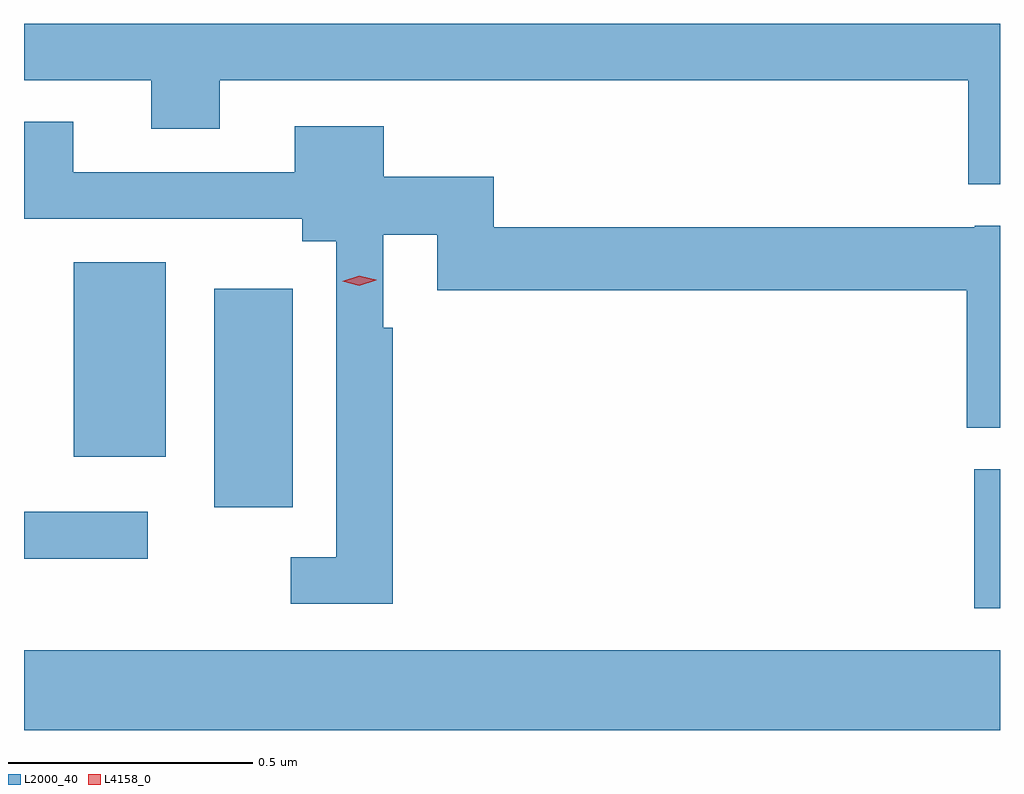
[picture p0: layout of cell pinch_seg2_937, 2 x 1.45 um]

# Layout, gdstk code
import gdstk
lib = gdstk.Library(unit=1e-6, precision=1e-09)
def R(c, l, rs):  # rectangles x0, y0, x1, y1
    for r in rs: c.add(gdstk.rectangle(r[:2], r[2:], *l))
def P(c, l, *ps):  # polygons
    for p in ps: c.add(gdstk.Polygon(p, *l))
L2000_40 = (2000, 40)
L4158_0 = (4158, 0)

pinch_seg2_937 = lib.new_cell('pinch_seg2_937')
R(pinch_seg2_937, L2000_40, [(458.9,664.952,460.9,665.116), (460.847,665.202,460.9,665.487), (458.9,665.304,459.154,665.4), (459.29,665.409,459.451,665.857), (459.002,665.513,459.19,665.911)])
P(pinch_seg2_937, L2000_40, [(460.9,666.4),(458.9,666.4),(458.9,666.284),(459.161,666.284),(459.161,666.185),(459.301,666.185),(459.301,666.284),(460.835,666.284),(460.835,666.071),(460.9,666.071)],
  [(459.656,665.777),(459.636,665.777),(459.636,665.968),(459.747,665.968),(459.747,665.854),(460.832,665.854),(460.832,665.572),(460.9,665.572),(460.9,665.986),(460.848,665.986),(460.848,665.983),(459.863,665.983),(459.863,666.086),(459.637,666.086),(459.637,666.19),(459.455,666.19),(459.455,666.096),(459.001,666.096),(459.001,666.199),(458.9,666.199),(458.9,666),(459.47,666),(459.47,665.954),(459.54,665.954),(459.54,665.307),(459.447,665.307),(459.447,665.211),(459.656,665.211)])
P(pinch_seg2_937, L4158_0, [(459.587,665.863),(459.552,665.872),(459.552,665.872),(459.552,665.872),(459.587,665.883),(459.622,665.875),(459.622,665.874),(459.622,665.874)])

lib.write_gds('pinch_seg2_937.gds')
